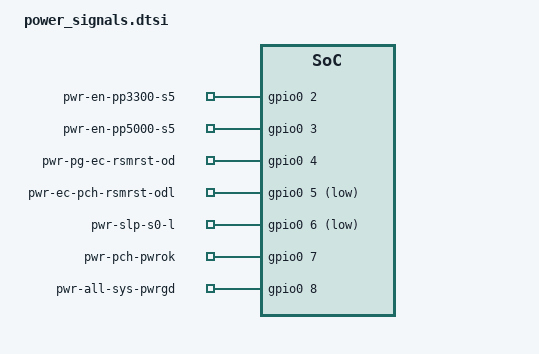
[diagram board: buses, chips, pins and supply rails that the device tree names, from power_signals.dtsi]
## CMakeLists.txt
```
# Copyright 2025 The ChromiumOS Authors
# Use of this source code is governed by a BSD-style license that can be
# found in the LICENSE file.

cmake_minimum_required(VERSION 3.13.1)
find_package(Zephyr REQUIRED HINTS "${ZEPHYR_BASE}")
project(intel_mod_aic)

target_include_directories(app PUBLIC ${PLATFORM_EC}/common)

zephyr_include_directories(include)

add_subdirectory(${PLATFORM_EC}/zephyr/test/test_utils test_utils)
zephyr_include_directories(${PLATFORM_EC}/zephyr/mock/include)
zephyr_include_directories(${PLATFORM_EC}/zephyr/subsys/ap_pwrseq/include)
target_sources(app PRIVATE src/main.c)
target_sources(app PRIVATE src/fakes.c)
```

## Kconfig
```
# Copyright 2025 The ChromiumOS Authors
# Use of this source code is governed by a BSD-style license that can be
# found in the LICENSE file.

config TEST_SUITE_INTEL_MOD_AIC
	bool "Enable Intel modular aic tests"

source "Kconfig.zephyr"
```

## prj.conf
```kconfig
# Copyright 2025 The ChromiumOS Authors
# Use of this source code is governed by a BSD-style license that can be
# found in the LICENSE file.

CONFIG_ZTEST=y
CONFIG_ZTEST_ASSERT_VERBOSE=1
CONFIG_ASSERT=y
CONFIG_EMUL=y
CONFIG_CROS_EC=y
CONFIG_PLATFORM_EC=y
CONFIG_LOG=y
CONFIG_EMUL_COMMON_I2C=y
CONFIG_GPIO=y
CONFIG_I2C=y

# Power Sequencing
CONFIG_AP_X86_INTEL_MTL=y
CONFIG_ESPI_VWIRE_VALID_BIT_CHECK=n
```

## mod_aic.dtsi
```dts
/* Copyright 2025 The ChromiumOS Authors
 * Use of this source code is governed by a BSD-style license that can be
 * found in the LICENSE file.
 */

/ {
	modular-aic-slots {
		#address-cells = <1>;
		#size-cells = <0>;
		/* Slots definition */
		mod_aic_slot1: mod-aic-slot@1 {
			compatible = "intel,modular-aic-slot";
			reg = <0>;
			detect-gpios = <&pca95xx_1 0 GPIO_ACTIVE_LOW>;
			conn-type = "INTEL_MODULAR_AIC_PORT_CONN_TYPE_USBC";
			detection-power-state = "AP_POWER_STATE_S4";
			ports = <&mod_port1>;
		};
		mod_aic_slot2: mod-aic-slot@2 {
			compatible = "intel,modular-aic-slot";
			reg = <1>;
			detect-gpios = <&pca95xx_1 1 GPIO_ACTIVE_LOW>;
			conn-type = "INTEL_MODULAR_AIC_PORT_CONN_TYPE_HDMI";
			ports = <&mod_port2>;
		};
	};
	/* Ports Definition */
	mod_port1: mod-port1 {
		compatible = "intel,modular-aic-port";
	};
	mod_port2: mod-port2 {
		compatible = "intel,modular-aic-port";
	};
};

&mod_aic1_detect {
	no-auto-init;
};

&mod_aic2_detect {
	no-auto-init;
};
```

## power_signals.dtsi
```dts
/* Copyright 2024 The ChromiumOS Authors
 * Use of this source code is governed by a BSD-style license that can be
 * found in the LICENSE file.
 */

/ {
	chosen {
		intel-ap-pwrseq,espi = &espi0;
	};

	common-pwrseq {
		compatible = "intel,ap-pwrseq";

		sys-pwrok-delay = <3>;
		all-sys-pwrgd-timeout = <20>;
		sys-reset-delay = <60>;
	};

	pwr-en-pp3300-s5 {
		compatible = "intel,ap-pwrseq-gpio";
		dbg-label = "PP3300_S5 enable output to LS";
		enum-name = "PWR_EN_PP3300_A";
		gpios = <&gpio0 2 GPIO_ACTIVE_HIGH>;
		output;
	};
	pwr-en-pp5000-s5 {
		compatible = "intel,ap-pwrseq-gpio";
		dbg-label = "PP5000_S5 enable output to LS";
		enum-name = "PWR_EN_PP5000_A";
		gpios = <&gpio0 3 GPIO_ACTIVE_HIGH>;
		output;
	};
	pwr-pg-ec-rsmrst-od {
		compatible = "intel,ap-pwrseq-gpio";
		dbg-label = "RSMRST power good from regulator";
		enum-name = "PWR_RSMRST_PWRGD";
		gpios = <&gpio0 4 GPIO_ACTIVE_HIGH>;
		interrupt-flags = <GPIO_INT_EDGE_BOTH>;
	};
	pwr-ec-pch-rsmrst-odl {
		compatible = "intel,ap-pwrseq-gpio";
		dbg-label = "RSMRST output to PCH";
		enum-name = "PWR_EC_PCH_RSMRST";
		gpios = <&gpio0 5 GPIO_ACTIVE_LOW>;
		reset-val = <1>;
		output;
	};
	pwr-slp-s0-l {
		compatible = "intel,ap-pwrseq-gpio";
		dbg-label = "SLP_S0_L input from PCH";
		enum-name = "PWR_SLP_S0";
		gpios = <&gpio0 6 GPIO_ACTIVE_LOW>;
		interrupt-flags = <GPIO_INT_EDGE_BOTH>;
	};
	pwr-pch-pwrok {
		compatible = "intel,ap-pwrseq-gpio";
		dbg-label = "PCH_PWROK output to PCH";
		enum-name = "PWR_PCH_PWROK";
		gpios = <&gpio0 7 GPIO_OPEN_DRAIN>;
		output;
	};
	pwr-ec-pch-sys-pwrok {
		compatible = "intel,ap-pwrseq-external";
		dbg-label = "SYS_PWROK output to PCH";
		enum-name = "PWR_EC_PCH_SYS_PWROK";
	};
	pwr-slp-s3 {
		compatible = "intel,ap-pwrseq-vw";
		dbg-label = "SLP_S3 virtual wire input from PCH";
		enum-name = "PWR_SLP_S3";
		virtual-wire = "ESPI_VWIRE_SIGNAL_SLP_S3";
		reset-val = <1>;
		vw-invert;
	};
	pwr-slp-s4 {
		compatible = "intel,ap-pwrseq-vw";
		dbg-label = "SLP_S4 virtual wire input from PCH";
		enum-name = "PWR_SLP_S4";
		virtual-wire = "ESPI_VWIRE_SIGNAL_SLP_S4";
		reset-val = <1>;
		vw-invert;
	};
	pwr-slp-s5 {
		compatible = "intel,ap-pwrseq-vw";
		dbg-label = "SLP_S5 virtual wire input from PCH";
		enum-name = "PWR_SLP_S5";
		virtual-wire = "ESPI_VWIRE_SIGNAL_SLP_S5";
		reset-val = <1>;
		vw-invert;
	};
	pwr-all-sys-pwrgd {
		compatible = "intel,ap-pwrseq-gpio";
		dbg-label = "all power good";
		enum-name = "PWR_ALL_SYS_PWRGD";
		gpios = <&gpio0 8 GPIO_ACTIVE_HIGH>;
		interrupt-flags = <GPIO_INT_EDGE_BOTH>;
	};
	pwr-sys-rst-l {
		compatible = "intel,ap-pwrseq-external";
		dbg-label = "SYS_RESET# output to PCH";
		enum-name = "PWR_SYS_RST";
	};
};

/*
 * Because the power signals directly reference the GPIOs,
 * the correspinding named-gpios need to have no-auto-init set.
 *
&en_pp3300_a {
	no-auto-init;
};
&en_pp5000_s5 {
	no-auto-init;
};
&rsmrst_pwrgd {
	no-auto-init;
};
&ec_pch_rsmrst_l {
	no-auto-init;
};
&pch_slp_s0_n {
	no-auto-init;
};
&ec_pch_pwrok_od {
	no-auto-init;
};
&all_sys_pwrgd {
	no-auto-init;
}; */
```

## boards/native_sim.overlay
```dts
/* Copyright 2025 The Chromium OS Authors. All rights reserved
 * Use of this source code is governed by a BSD-style license that can be
 * found in the LICENSE file.
 */
#include <board-overlays/native_sim.dts>

/ {
	/* GPIO emulator initialization priority lesser than i2c emulator */
	pca95xx_1: pca95xx@23 {
		compatible = "zephyr,gpio-emul";
		/* label marked deprecated for gpio-emul */
		/* label = "PCA95XX"; */
		reg = <0x23 0x4>;
		rising-edge;
		falling-edge;
		high-level;
		low-level;
		gpio-controller;
		#gpio-cells = <2>;
		ngpios = <16>;
	};

	named-gpios {
		mod_aic2_detect: mod-tcss2-detect {
			gpios = <&pca95xx_1 1  GPIO_INPUT>;
		};
		mod_aic1_detect: mod-tcss1-detect {
			gpios = <&pca95xx_1 0  GPIO_INPUT>;
		};
		ac-present {
			gpios = <&gpio0 9 GPIO_INPUT>;
			enum-name = "GPIO_AC_PRESENT";
		};
	};

	 named-i2c-ports {
                compatible = "named-i2c-ports";

                i2c_pd_pow: i2c-pd-pow {
                        i2c-port = <&i2c0>;
                        enum-names = "I2C_PORT_PD_POW";
                };

		charger: i2c-charger {
			i2c-port = <&i2c0>;
			enum-names = "CHARGER";
		};
        };

};

&i2c0 {
        battery: sb@b {
                compatible = "zephyr,smart-battery-emul";
                reg = <0xb>;
                cycle-count = <6>;
                version = "BATTERY_SPEC_VER_1_1_WITH_PEC";
                desired-charg-volt = <11250>;
                desired-charg-cur = <2400>;
                mf-name = "LGC";
                dev-name = "AP18C8K";
        };

        smbus_ara_emul: smbus_ara@c {
                compatible = "zephyr,smbus-ara-emul";
                reg = <0xc>;
        };
};
```

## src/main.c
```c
/* Copyright 2025 The ChromiumOS Authors
 * Use of this source code is governed by a BSD-style license that can be
 * found in the LICENSE file.
 */

#include "emul/emul_pdc.h"
#include "emul/emul_realtek_rts54xx_public.h"
#include "gpio.h"
#include "system.h"

#include <zephyr/drivers/emul.h>
#include <zephyr/drivers/gpio.h>
#include <zephyr/drivers/gpio/gpio_emul.h>
#include <zephyr/fff.h>
#include <zephyr/logging/log.h>
#include <zephyr/ztest.h>

#include <ap_power/ap_pwrseq.h>
#include <ap_power/ap_pwrseq_sm.h>
#include <drivers/intel_modular_aic.h>

static int board_ap_power_action_g3_run(void *data)
{
	if (ap_pwrseq_sm_is_event_set(data, AP_PWRSEQ_EVENT_POWER_SHUTDOWN)) {
		return 0;
	}

	return ap_pwrseq_sm_set_state(data, AP_POWER_STATE_S5);
}
AP_POWER_CHIPSET_STATE_DEFINE(AP_POWER_STATE_G3, NULL,
			      board_ap_power_action_g3_run, NULL);

static int board_ap_power_action_s5_run(void *data)
{
	return ap_pwrseq_sm_set_state(data, AP_POWER_STATE_S4);
}
AP_POWER_CHIPSET_STATE_DEFINE(AP_POWER_STATE_S5, NULL,
			      board_ap_power_action_s5_run, NULL);

static int board_ap_power_action_s4_run(void *data)
{
	if (ap_pwrseq_sm_is_event_set(data, AP_PWRSEQ_EVENT_POWER_SHUTDOWN)) {
		return ap_pwrseq_sm_set_state(data, AP_POWER_STATE_G3);
	}

	return 0;
}
AP_POWER_CHIPSET_STATE_DEFINE(AP_POWER_STATE_S4, NULL,
			      board_ap_power_action_s4_run, NULL);

static void ap_transition_through_s4(void)
{
	const struct device *dev = ap_pwrseq_get_instance();

	ap_pwrseq_start(dev, AP_POWER_STATE_G3);

	ap_pwrseq_post_event(dev, AP_PWRSEQ_EVENT_POWER_STARTUP);

	/* Allow callbacks to trigger */
	k_msleep(50);

	/* return system to G3 */
	ap_pwrseq_post_event(dev, AP_PWRSEQ_EVENT_POWER_SHUTDOWN);
}

static bool verify_dev_detected(const struct device *dev)
{
	struct intel_modular_aic_slot_data *data = dev->data;

	if (data->detection_done)
		return true;

	return false;
}

ZTEST(mod_aic_tests, test_aic_not_detected)
{
	const struct gpio_dt_spec *cc1 =
		GPIO_DT_FROM_NODELABEL(mod_aic1_detect);

	/* Toggle detection gpio high (not detected) */
	zassert_ok(gpio_emul_input_set(cc1->port, cc1->pin, 1));

	/* Change to S4 to send AP Callback to trigger device detection */
	ap_transition_through_s4();

	zassert_false(verify_dev_detected(
		DEVICE_DT_GET(DT_NODELABEL(mod_aic_slot1))));
	zassert_true(verify_dev_detected(
		DEVICE_DT_GET(DT_NODELABEL(mod_aic_slot2))));
}

ZTEST(mod_aic_tests, test_detected_after_gpio_toggle)
{
	const struct gpio_dt_spec *cc1 =
		GPIO_DT_FROM_NODELABEL(mod_aic1_detect);

	/* Toggle detection gpio low (detected) */
	zassert_ok(gpio_emul_input_set(cc1->port, cc1->pin, 0));

	/* Change to S4 to send AP Callback to trigger device detection */
	ap_transition_through_s4();

	zassert_true(verify_dev_detected(
		DEVICE_DT_GET(DT_NODELABEL(mod_aic_slot1))));
	zassert_true(verify_dev_detected(
		DEVICE_DT_GET(DT_NODELABEL(mod_aic_slot2))));

	/* Transition through S4 again to trigger ap callback and verify no
	 * issues */
	ap_transition_through_s4();

	zassert_true(verify_dev_detected(
		DEVICE_DT_GET(DT_NODELABEL(mod_aic_slot1))));
	zassert_true(verify_dev_detected(
		DEVICE_DT_GET(DT_NODELABEL(mod_aic_slot2))));
}

/* Test Suite Setup */
ZTEST_SUITE(mod_aic_tests, NULL, NULL, NULL, NULL, NULL);
```

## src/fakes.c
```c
/* Copyright 2025 The ChromiumOS Authors
 * Use of this source code is governed by a BSD-style license that can be
 * found in the LICENSE file.
 */

int extpower_is_present(void)
{
	return 0;
}
```
